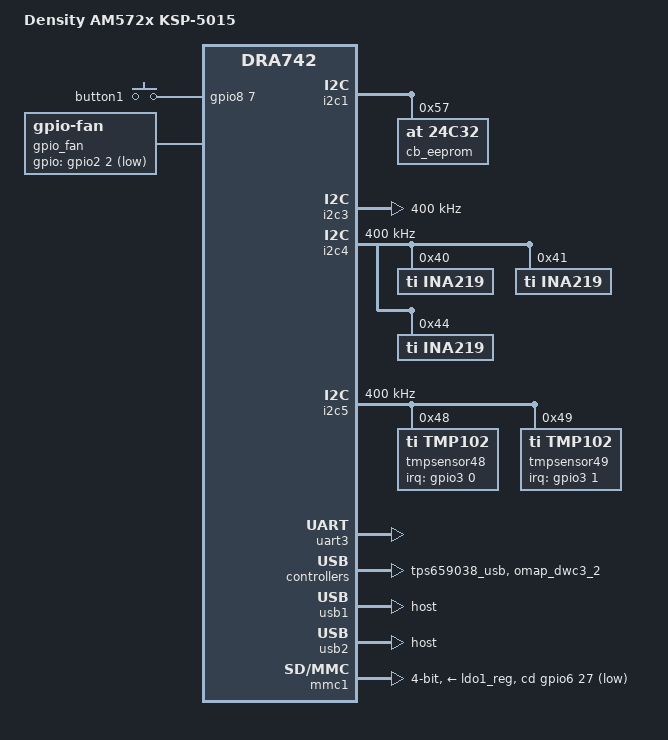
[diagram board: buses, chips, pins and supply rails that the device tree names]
/*
 * Copyright (C) 2017 PHYTEC America, LLC
 *
 * This program is free software; you can redistribute it and/or modify
 * it under the terms of the GNU General Public License version 2 as
 * published by the Free Software Foundation.
 */
/ {
	model = "Density AM572x KSP-5015";
	compatible = "phytec,am572x-ksp-5015", "phytec,am572x-phycore-som", "ti,am5728", "ti,dra742", "ti,dra74", "ti,dra7";

	chosen {
		stdout-path = &uart3;
	};

	button: gpio-keys {
		status = "okay";
		compatible = "gpio-keys";
		pinctrl-names = "default";
		pinctrl-0 = <&btn_pins>;

		btn1@0 {
			label = "button1";
			gpios = <&gpio8 7 GPIO_ACTIVE_HIGH>;
			linux,code = <0x100>;   /* BTN_MISC */
		};
	};

	gpio_fan: gpio_fan {
		status = "okay";
		compatible = "gpio-fan";
		pinctrl-names = "default";
		pinctrl-0 = <&fan_pins>;

		gpios = <&gpio2 2 GPIO_ACTIVE_LOW>;
		gpio-fan,speed-map = <0	0
				      1	1>;
		cooling-min-state = <0>;
		cooling-max-state = <1>;
		#cooling-cells = <2>;
	};
};

&dra7_pmx_core {

	pinctrl-names = "default";
	pinctrl-0 = <&misc_gpios_pins &eepromwc_pins>;

	i2c3_pins_default: i2c3_pins_default {
		pinctrl-single,pins = <
			0x378 (PIN_INPUT_PULLUP | MUX_MODE2)	/* gpio6_11.i2c3_scl */
			0x374 (PIN_INPUT_PULLUP | MUX_MODE2)	/* gpio6_10.i2c3_sda */
		>;
	};

	i2c3_pins_sleep: i2c3_pins_sleep {
		pinctrl-single,pins = <
			0x378 (PIN_INPUT | MUX_MODE15)
			0x374 (PIN_INPUT | MUX_MODE15)
		>;
	};

	i2c4_pins_default: i2c4_pins_default {
		pinctrl-single,pins = <
			0x40 (PIN_INPUT_PULLUP | MUX_MODE7)	/* gpmc_a0.i2c4_scl */
			0x44 (PIN_INPUT_PULLUP | MUX_MODE7)	/* gpmc_a1.i2c4_sda */
		>;
	};

	i2c4_pins_sleep: i2c4_pins_sleep {
		pinctrl-single,pins = <
			0x40 (PIN_INPUT | MUX_MODE15)
			0x44 (PIN_INPUT | MUX_MODE15)
		>;
	};

	i2c5_pins_default: i2c5_pins_default {
		pinctrl-single,pins = <
			0x2b4 (PIN_INPUT_PULLUP | MUX_MODE10)	/* mcasp1_axr0.i2c5_sda */
			0x2b8 (PIN_INPUT_PULLUP | MUX_MODE10)	/* mcasp1_axr1.i2c5_scl */
		>;
	};

	i2c5_pins_sleep: i2c5_pins_sleep {
		pinctrl-single,pins = <
			0x2b4 (PIN_INPUT | MUX_MODE15)
			0x2b8 (PIN_INPUT | MUX_MODE15)
		>;
	};

	uart3_pins_default: uart3_pins_default {
		pinctrl-single,pins = <
			0x248 (PIN_INPUT_SLEW | MUX_MODE0) /* uart3_rxd.rxd */
			0x24c (PIN_INPUT_SLEW | MUX_MODE0) /* uart3_txd.txd */
		>;
	};

	uart3_pins_sleep: uart3_pins_sleep {
		pinctrl-single,pins = <
			0x248 (PIN_INPUT | MUX_MODE15)
			0x24c (PIN_INPUT | MUX_MODE15)
		>;
	};

	usb1_pins: usb1_pins {
		pinctrl-single,pins = <
			0x280 (PIN_INPUT_SLEW | MUX_MODE0) /* usb1_drvvbus */
			0x22c (PIN_INPUT | MUX_MODE14)     /* vout1_d20.gpio8_20 */
		>;
	};

	usb2_pins_default: usb2_pins_default {
		pinctrl-single,pins = <
			0x284 (PIN_INPUT_SLEW | MUX_MODE0) /* usb2_drvvbus */
			0x230 (PIN_INPUT | MUX_MODE14)     /* vout1_d21.gpio8_21 */
		>;
	};

	usb2_pins_sleep: _usb2_pins_sleep {
		pinctrl-single,pins = <
			0x284 (PIN_INPUT_SLEW | MUX_MODE15) /* usb2_drvvbus */
			0x230 (PIN_INPUT | MUX_MODE14)     /* vout1_d21.gpio8_21 */
		>;
	};

	extcon_pins_default:  extcon_pins_default {
		pinctrl-single,pins = <
			0x1d0 (PIN_INPUT_PULLDOWN | MUX_MODE14)	/* vout1_fld.gpio4_21 */
			0x1f4 (PIN_INPUT | MUX_MODE14)		/* vout1_d6.gpio8_6 */
		>;
	};

	btn_pins: btn_pins {
		pinctrl-single,pins = <
			0x1f8 (PIN_INPUT | MUX_MODE14)	/* vout1_d7.gpio8_7 */
		>;
	};

	misc_gpios_pins: spare_gpios_pins {
		pinctrl-single,pins = <
			0x1ec (PIN_OUTPUT | MUX_MODE14)	/* vout1.d4.gpio8_4 	spare*/
			0x48  (PIN_OUTPUT | MUX_MODE14)	/* gpmc_a2.gpio7_5 	spare*/
			0x2e8 (PIN_OUTPUT | MUX_MODE14)	/* mcasp1_axr13.gpio6_4 spare*/
			0x1e4 (PIN_OUTPUT | MUX_MODE14)	/* vout1_d2.gpio8_2	spare*/

			0x234 (PIN_INPUT | MUX_MODE14)	/* vout1_d22.gpio8_22	appsel0 */
			0x238 (PIN_INPUT | MUX_MODE14)	/* vout1_d23.gpio8_23	appsel1 */

			0x50  (PIN_INPUT | MUX_MODE14)	/* gpmc_a4.gpio1_26	id0 */
			0x54  (PIN_INPUT | MUX_MODE14)	/* gpmc_a5.gpio1_27	id1 */
			0x58  (PIN_INPUT | MUX_MODE14)	/* gpmc_a6.gpio1_28	id2 */
			0x5c  (PIN_INPUT | MUX_MODE14)	/* gpmc_a7.gpio1_29	id3 */

			0x1e8 (PIN_OUTPUT | MUX_MODE14) /* vout1_d3.gpio8_3	12v_tof */
			0x178 (PIN_OUTPUT | MUX_MODE14)	/* vin2a_d4.gpio4_5	5v_tof */
			0x174 (PIN_OUTPUT | MUX_MODE14) /* vin2a_d3.gpio4_4	eeprom ~wc*/

		>;
	};

	tmp102_48_pins: tmp102_48_pins {
		pinctrl-single,pins = <
			0xe4 (PIN_INPUT | MUX_MODE14)	/* vin1a_de0.gpio3_0 */
		>;
	};

	tmp102_49_pins: tmp102_49_pins {
		pinctrl-single,pins = <
			0xe8 (PIN_INPUT | MUX_MODE14)	/* vin1a_fld0.gpio3_1 */
		>;
	};

	fan_pins: fan_pins {
		pinctrl-single,pins = <
			0x70 (PIN_OUTPUT | MUX_MODE14)	/* gpmc_a12.gpio2_2 */
		>;
	};

	pwm1_pins: pwm1_pins {
		pinctrl-single,pins = <
			0xf4 (PIN_INPUT | MUX_MODE10)	/*vin1a_d0.ehrpwm1a */
			0xf8 (PIN_INPUT | MUX_MODE10)	/*vin1a_d1.ehrpwm1b */
		>;
	};

	pwm3_pins: pwm3_pins {
		pinctrl-single,pins = <
			0x394 (PIN_INPUT | MUX_MODE10)	/* mmc3_data4.ehrpwm3a */
		>;
	};

	eepromwc_pins: eeprom_pins {
		pinctrl-single,pins = <
			0x174 (PIN_OUTPUT | MUX_MODE14)	/* vin2a_d3.gpio4_4 */
		>;
	};

	mmc1_pins_default: mmc1_pins_default {
		pinctrl-single,pins = <
			0x36c (PIN_INPUT | MUX_MODE14)	/* mmc1sdcd.gpio6_27 */
			0x354 (PIN_INPUT_PULLUP | MUX_MODE0) /* mmc1_clk.clk */
			0x358 (PIN_INPUT_PULLUP | MUX_MODE0) /* mmc1_cmd.cmd */
			0x35c (PIN_INPUT_PULLUP | MUX_MODE0) /* mmc1_dat0.dat0 */
			0x360 (PIN_INPUT_PULLUP | MUX_MODE0) /* mmc1_dat1.dat1 */
			0x364 (PIN_INPUT_PULLUP | MUX_MODE0) /* mmc1_dat2.dat2 */
			0x368 (PIN_INPUT_PULLUP | MUX_MODE0) /* mmc1_dat3.dat3 */
		>;
	};

	mmc1_pins_hs: mmc1_pins_hs {
		pinctrl-single,pins = <
			0x36c (PIN_INPUT | MUX_MODE14)  /* mmc1sdcd.gpio6_27 */
			0x354 (PIN_INPUT_PULLUP | MUX_VIRTUAL_MODE11 | MUX_MODE0)       /* mmc1_clk.clk */
			0x358 (PIN_INPUT_PULLUP | MUX_VIRTUAL_MODE11 | MUX_MODE0)       /* mmc1_cmd.cmd */
			0x35c (PIN_INPUT_PULLUP | MUX_VIRTUAL_MODE11 | MUX_MODE0)       /* mmc1_dat0.dat0 */
			0x360 (PIN_INPUT_PULLUP | MUX_VIRTUAL_MODE11 | MUX_MODE0)       /* mmc1_dat1.dat1 */
			0x364 (PIN_INPUT_PULLUP | MUX_VIRTUAL_MODE11 | MUX_MODE0)       /* mmc1_dat2.dat2 */
			0x368 (PIN_INPUT_PULLUP | MUX_VIRTUAL_MODE11 | MUX_MODE0)       /* mmc1_dat3.dat3 */
		>;
	};

};

&i2c1 {
	cb_eeprom@51 {
		status = "okay";
		compatible = "at,24c32";
		reg = <0x57>;
		pagesize = <32>;
		/* ~WC signal controlled via GPIO */
	};
};

&i2c3 {
	status = "okay";
	pinctrl-names = "default", "sleep";
	pinctrl-0 = <&i2c3_pins_default>;
	pinctrl-1 = <&i2c3_pins_sleep>;
	clock-frequency = <400000>;
};

&i2c4 {
	status = "okay";
	pinctrl-names = "default", "sleep";
	pinctrl-0 = <&i2c4_pins_default>;
	pinctrl-1 = <&i2c4_pins_sleep>;
	clock-frequency = <400000>; /* Fast mode - HS mode also possible (max 2.56MHz) */

	ina219@40 {
		compatible = "ti,ina219";
		reg = <0x40>;
		shunt-resistor = <7000>; /* in micro-Ohm */
	};

	ina219@41 {
		compatible = "ti,ina219";
		reg = <0x41>;
		shunt-resistor = <7000>;
	};

	ina219@44 {
		compatible = "ti,ina219";
		reg = <0x44>;
		shunt-resistor = <7000>;
	};
};

&i2c5 {
	status = "okay";
	pinctrl-names = "default", "sleep";
	pinctrl-0 = <&i2c5_pins_default>;
	pinctrl-1 = <&i2c5_pins_sleep>;
	clock-frequency = <400000>; /* Fast mode - HS mode also possible (max 3.4MHz) */

	tmpsensor48: tmp102@48 {
		compatible = "ti,tmp102";
		pinctrl-names = "default";
		pinctrl-0 = <&tmp102_48_pins>;
		reg = <0x48>;
		interrupt-parent = <&gpio3>;
		interrupts = <0 IRQ_TYPE_LEVEL_LOW>;
		#thermal-sensor-cells = <0>;
	};

	tmpsensor49: tmp102@49 {
		compatible = "ti,tmp102";
		pinctrl-names = "default";
		pinctrl-0 = <&tmp102_49_pins>;
		reg = <0x49>;
		interrupt-parent = <&gpio3>;
		interrupts = <1 IRQ_TYPE_LEVEL_LOW>;
		#thermal-sensor-cells = <0>;
	};
};

&uart3 {
	status = "okay";
	pinctrl-names = "default";
	pinctrl-0 = <&uart3_pins_default>;

	interrupts-extended = <&crossbar_mpu GIC_SPI 69 IRQ_TYPE_LEVEL_HIGH
			       &dra7_pmx_core 0x248>;
};


&tps659038 {
	tps659038_usb: tps659038_usb {
		status = "okay";
		compatible = "ti,palmas-usb-vid";
		pinctrl-names = "default";
		pinctrl-0 = <&extcon_pins_default>;
		id-gpio = <&gpio8 6 GPIO_ACTIVE_HIGH>;
		vbus-gpio = <&gpio4 21 GPIO_ACTIVE_HIGH>;

		ti,enable-vbus-detection;
		ti,enable-id-detection;
	};
};

&usb2_phy1 {
	phy-supply = <&ldousb_reg>;
};

&usb2_phy2 {
	phy-supply = <&ldousb_reg>;
};

&usb1 {
	status = "okay";
	dr_mode = "host";
	pinctrl-names = "default";
	pinctrl-0 = <&usb1_pins>;
};

&omap_dwc3_2 {
	status = "okay";
	extcon = <&tps659038_usb>;
};

&usb2 {
	status = "okay";
	dr_mode = "host";
	pinctrl-names = "default", "sleep";
	pinctrl-0 = <&usb2_pins_default>;
	pinctrl-1 = <&usb2_pins_sleep>;
};

/* mmc1 not on KSP-5015 - Included for flashing with RDK */
&mmc1 {
	status = "okay";
	pinctrl-names = "default", "hs";
	pinctrl-0 = <&mmc1_pins_default>;
	pinctrl-1 = <&mmc1_pins_hs>;

	vmmc-supply = <&ldo1_reg>;
	vmmc_aux-supply = <&vdd_3v3>;
	pbias-supply = <&pbias_mmc_reg>;
	bus-width = <4>;

	cd-gpios = <&gpio6 27 GPIO_ACTIVE_LOW>; /* gpio 219 */
};
